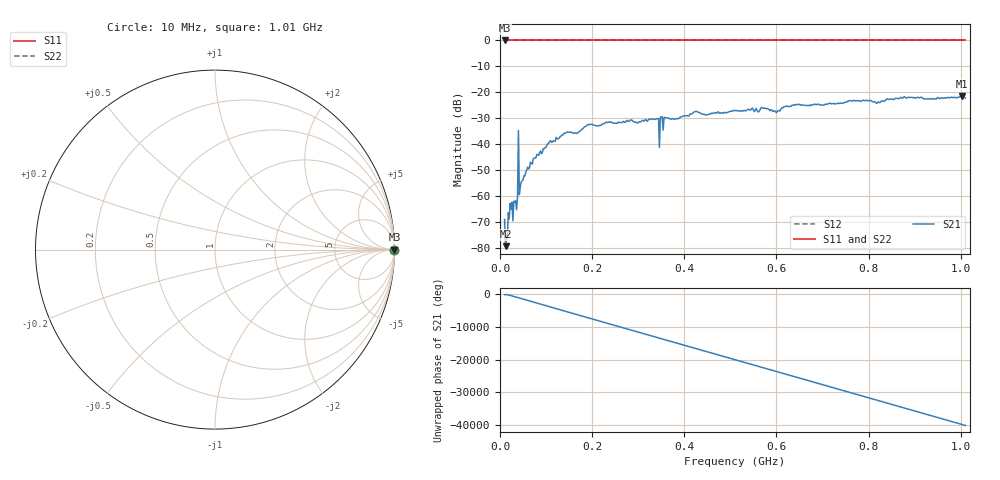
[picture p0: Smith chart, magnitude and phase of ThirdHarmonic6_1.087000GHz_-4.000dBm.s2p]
! 8/16/2025 10:03:15 AM
! C:\ANRITSUVNA\TEMP\TEMP.S2P
! CHANNEL.1
! TR.MEASUREMENT
! RAW.DATA
! RF.CORRECTION.OFF
! AVERAGING.OFF
! IF.BANDWIDTH: 5KHZ
! SWEEPTYPE:  FREQ.SWEEP(Linear)
! Reference Plane Port Info
! PORT:  PORT1  PORT2
! DISTANCE:  0  m  0  m
! TIME:  0  s  0  s
! PHASE.OFFSET:  0  deg.  0  deg.
! LOSS:  0  dB  0  dB
! REF.LOSS:  0  dB  0  dB
! REF.FREQ:  0  Hz  0  Hz
! Power Info
! POWER:  -20  dBm  -20  dBm
! EFF.POWER:  -20  dBm  -20  dBm
! SOURCE.ATTEN:  0  dB  0  dB
! TEST.ATTEN:  0  dB  0  dB
# GHZ S RI R 50.0
! FREQ.GHZ  S11RE  S11IM  S21RE  S21IM  S12RE  S12IM  S22RE  S22IM
!; PortSelection: Port_12
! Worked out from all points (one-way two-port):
!   501 points, 10 MHz to 1.01 GHz, reference 50 ohm
!   highest |S21| = -21.48 dB at 1.002 GHz (marker M1); lowest = -79.2 dB at 12 MHz (marker M2)
!   lowest |S11| = 0.0 dB at 10 MHz (marker M3)
!   |S11| at or under -10 dB: nowhere
!   |S22| runs from 0.0 to 0.0 dB; largest |S21 - S12| = 1.1
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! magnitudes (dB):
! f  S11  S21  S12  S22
! 10 MHz  0.0  -68.9  0.0  0.0
! 12 MHz  0.0  -79.2  0.0  0.0
! 16 MHz  0.0  -76.4  0.0  0.0
! 22 MHz  0.0  -62.7  0.0  0.0
! 32 MHz  0.0  -62.2  0.0  0.0
! 34 MHz  0.0  -61.7  0.0  0.0
! 36 MHz  0.0  -65.1  0.0  0.0
! 44 MHz  0.0  -56.2  0.0  0.0
! 46 MHz  0.0  -54.5  0.0  0.0
! 70 MHz  0.0  -47.6  0.0  0.0
! 106 MHz  0.0  -39.6  0.0  0.0
! 178 MHz  0.0  -34.1  0.0  0.0
! 328 MHz  0.0  -30.3  0.0  0.0
! 344 MHz  0.0  -30.1  0.0  0.0
! 360 MHz  0.0  -29.7  0.0  0.0
! 424 MHz  0.0  -27.4  0.0  0.0
! 510 MHz  0.0  -26.9  0.0  0.0
! 602 MHz  0.0  -27.3  0.0  0.0
! 678 MHz  0.0  -24.8  0.0  0.0
! 844 MHz  0.0  -22.8  0.0  0.0
! 1.002 GHz  0.0  -21.5  0.0  0.0
! 1.01 GHz  0.0  -22.2  0.0  0.0
